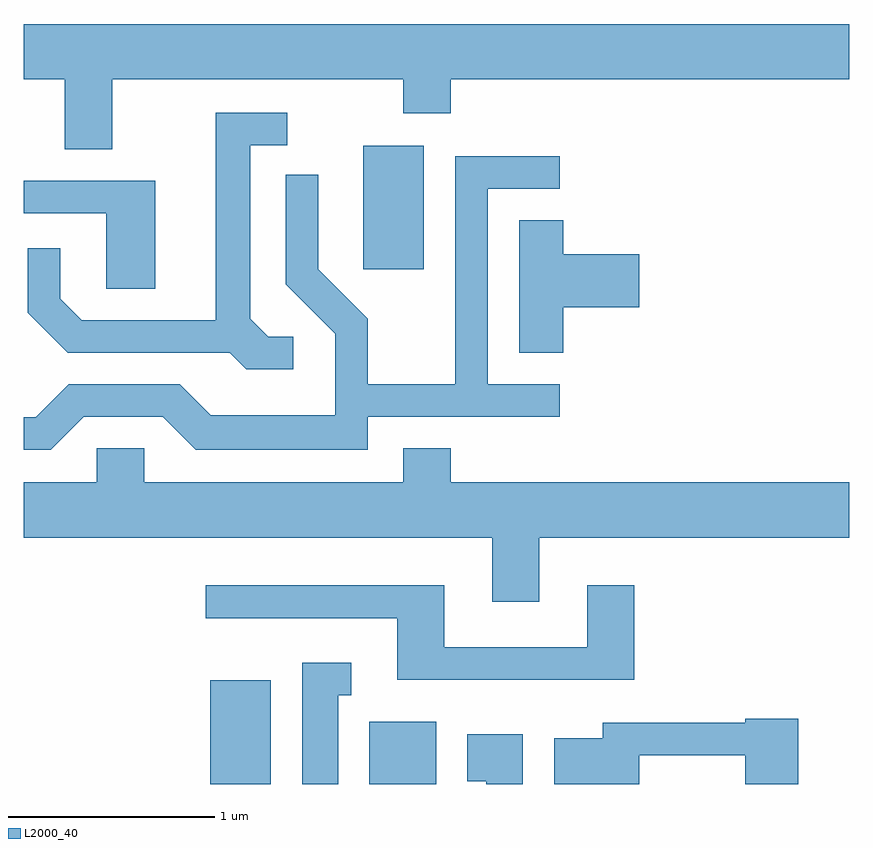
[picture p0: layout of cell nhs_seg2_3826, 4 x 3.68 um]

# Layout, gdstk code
import gdstk
lib = gdstk.Library(unit=1e-6, precision=1e-09)
def R(c, l, rs):  # rectangles x0, y0, x1, y1
    for r in rs: c.add(gdstk.rectangle(r[:2], r[2:], *l))
def P(c, l, *ps):  # polygons
    for p in ps: c.add(gdstk.Polygon(p, *l))
L2000_40 = (2000, 40)

nhs_seg2_3826 = lib.new_cell('nhs_seg2_3826')
R(nhs_seg2_3826, L2000_40, [(298.516,1033.802,298.809,1034.304), (299.286,1033.802,299.609,1034.104), (299.256,1036.296,299.549,1036.894)])
P(nhs_seg2_3826, L2000_40, [(298.039,1037.216),(299.451,1037.216),(299.451,1037.051),(299.679,1037.051),(299.679,1037.216),(301.611,1037.216),(301.611,1037.484),(297.611,1037.484),(297.611,1037.216),(297.811,1037.216),(297.811,1036.876),(298.039,1036.876)],
  [(298.918,1035.969),(298.797,1035.969),(298.709,1036.056),(298.709,1036.896),(298.888,1036.896),(298.888,1037.054),(298.541,1037.054),(298.541,1036.049),(297.892,1036.049),(297.789,1036.152),(297.789,1036.398),(297.631,1036.398),(297.631,1036.084),(297.824,1035.891),(298.609,1035.891),(298.689,1035.811),(298.918,1035.811)],
  [(297.902,1035.581),(298.284,1035.581),(298.444,1035.421),(299.279,1035.421),(299.279,1035.581),(300.208,1035.581),(300.208,1035.739),(299.859,1035.739),(299.859,1036.686),(300.208,1036.686),(300.208,1036.844),(299.701,1036.844),(299.701,1035.739),(299.279,1035.739),(299.279,1036.056),(299.039,1036.296),(299.039,1036.753),(298.881,1036.753),(298.881,1036.224),(299.121,1035.984),(299.121,1035.589),(298.517,1035.589),(298.367,1035.739),(297.829,1035.739),(297.669,1035.579),(297.611,1035.579),(297.611,1035.421),(297.742,1035.421)],
  [(298.249,1036.724),(297.611,1036.724),(297.611,1036.566),(298.011,1036.566),(298.011,1036.201),(298.249,1036.201)],
  [(300.224,1036.111),(300.594,1036.111),(300.594,1036.369),(300.224,1036.369),(300.224,1036.534),(300.011,1036.534),(300.011,1035.891),(300.224,1035.891)],
  [(300.109,1034.996),(301.611,1034.996),(301.611,1035.264),(299.679,1035.264),(299.679,1035.429),(299.451,1035.429),(299.451,1035.264),(298.194,1035.264),(298.194,1035.429),(297.966,1035.429),(297.966,1035.264),(297.611,1035.264),(297.611,1034.996),(299.881,1034.996),(299.881,1034.686),(300.109,1034.686)],
  [(300.569,1034.764),(300.341,1034.764),(300.341,1034.464),(299.649,1034.464),(299.649,1034.764),(298.493,1034.764),(298.493,1034.606),(299.421,1034.606),(299.421,1034.306),(300.569,1034.306)],
  [(299.134,1034.231),(299.198,1034.231),(299.198,1034.389),(298.961,1034.389),(298.961,1033.802),(299.134,1033.802)],
  [(300.594,1033.941),(301.106,1033.941),(301.106,1033.802),(301.364,1033.802),(301.364,1034.119),(301.106,1034.119),(301.106,1034.099),(300.416,1034.099),(300.416,1034.024),(300.181,1034.024),(300.181,1033.802),(300.594,1033.802)],
  [(300.029,1034.044),(299.761,1034.044),(299.761,1033.816),(299.851,1033.816),(299.851,1033.802),(300.029,1033.802)])

lib.write_gds('nhs_seg2_3826.gds')
